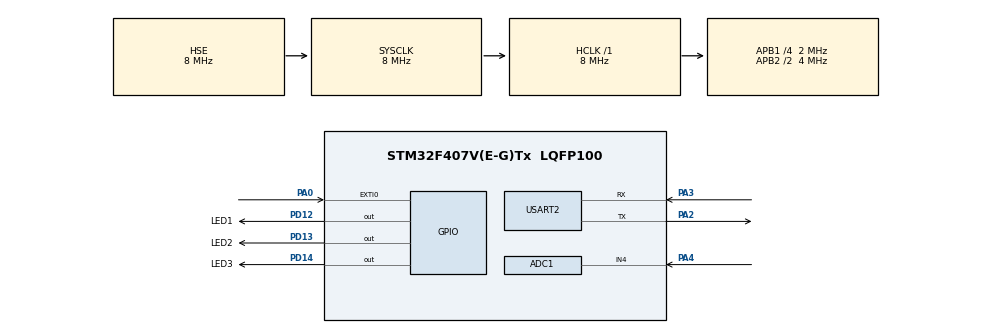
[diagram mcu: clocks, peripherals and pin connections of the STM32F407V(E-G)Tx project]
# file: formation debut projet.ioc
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ADC1.Channel-0\#ChannelRegularConversion=ADC_CHANNEL_4
ADC1.InjNumberOfConversion=0
ADC1.NbrOfConversionFlag=1
ADC1.Rank-0\#ChannelRegularConversion=1
ADC1.SamplingTime-0\#ChannelRegularConversion=ADC_SAMPLETIME_15CYCLES
ADC1.master=1
Mcu.Family=STM32F4
Mcu.Name=STM32F407V(E-G)Tx
Mcu.Package=LQFP100
NVIC.ADC_IRQn=true\:0\:0\:false\:false\:true\:true\:true\:true
NVIC.EXTI0_IRQn=true\:0\:0\:false\:false\:true\:true\:true\:true
NVIC.PriorityGroup=NVIC_PRIORITYGROUP_0
PA0-WKUP.Signal=GPXTI0
PA2.Mode=Asynchronous
PA2.Signal=USART2_TX
PA3.Mode=Asynchronous
PA3.Signal=USART2_RX
PA4.Signal=ADCx_IN4
PD12.GPIO_Label=LED1
PD12.Signal=GPIO_Output
PD13.GPIO_Label=LED2
PD13.Signal=GPIO_Output
PD14.GPIO_Label=LED3
PD14.Signal=GPIO_Output
PH0-OSC_IN.Mode=HSE-External-Oscillator
PH0-OSC_IN.Signal=RCC_OSC_IN
PH1-OSC_OUT.Mode=HSE-External-Oscillator
PH1-OSC_OUT.Signal=RCC_OSC_OUT
ProjectManager.HeapSize=0x200
ProjectManager.StackSize=0x400
ProjectManager.TargetToolchain=STM32CubeIDE
RCC.48MHZClocksFreq_Value=48000000
RCC.AHBFreq_Value=8000000
RCC.APB1CLKDivider=RCC_HCLK_DIV4
RCC.APB1Freq_Value=2000000
RCC.APB1TimFreq_Value=4000000
RCC.APB2CLKDivider=RCC_HCLK_DIV2
RCC.APB2Freq_Value=4000000
RCC.APB2TimFreq_Value=8000000
RCC.CortexFreq_Value=8000000
RCC.HCLKFreq_Value=8000000
RCC.HSE_VALUE=8000000
RCC.HSI_VALUE=16000000
RCC.PLLM=8
RCC.PLLN=336
RCC.PLLQ=7
RCC.PLLSourceVirtual=RCC_PLLSOURCE_HSE
RCC.SYSCLKFreq_VALUE=8000000
RCC.SYSCLKSource=RCC_SYSCLKSOURCE_HSE
RCC.VCOOutputFreq_Value=336000000
SH.ADCx_IN4.0=ADC1_IN4,IN4
USART2.VirtualMode=VM_ASYNC
board=STM32F407G-DISC1

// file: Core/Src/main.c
/* USER CODE BEGIN Header */
/**
  ******************************************************************************
  * @file           : main.c
  * @brief          : Main program body
  ******************************************************************************
  * @attention
  *
  * Copyright (c) 2024 STMicroelectronics.
  * All rights reserved.
  *
  * This software is licensed under terms that can be found in the LICENSE file
  * in the root directory of this software component.
  * If no LICENSE file comes with this software, it is provided AS-IS.
  *
  ******************************************************************************
  */
/* USER CODE END Header */
#include "main.h"

ADC_HandleTypeDef hadc1;

UART_HandleTypeDef huart2;

/* USER CODE BEGIN PV */
uint16_t tab[20];
uint8_t indice;
/* USER CODE END PV */

void SystemClock_Config(void);
static void MX_GPIO_Init(void);
static void MX_ADC1_Init(void);
static void MX_USART2_UART_Init(void);
/* USER CODE BEGIN PFP */
/**
  * @brief  EXTI line detection callbacks.
  * @param  GPIO_Pin Specifies the pins connected EXTI line
  * @retval None
  */
/*__weak*/ void HAL_GPIO_EXTI_Callback(uint16_t GPIO_Pin)
{

HAL_ADC_Start_IT(&hadc1);
HAL_GPIO_WritePin(LED1_GPIO_Port, LED2_Pin, 1);
}

/*__weak*/ void HAL_ADC_ConvCpltCallback(ADC_HandleTypeDef* hadc)
{
  HAL_ADC_Stop_IT(&hadc1);
  HAL_GPIO_WritePin(LED1_GPIO_Port, LED3_Pin, 1);
  tab[indice]=HAL_ADC_GetValue(&hadc1);
  indice ++;
}
/* USER CODE END PFP */

int main(void)
{

  /* MCU Configuration--------------------------------------------------------*/

  /* Reset of all peripherals, Initializes the Flash interface and the Systick. */

  /* Configure the system clock */
  SystemClock_Config();

  /* Initialize all configured peripherals */
  MX_GPIO_Init();
  MX_ADC1_Init();
  MX_USART2_UART_Init();
  /* USER CODE BEGIN 2 */
  indice=0;
  /* USER CODE END 2 */

  /* Infinite loop */
  while (1)
  {

    /* USER CODE BEGIN 3 */
	HAL_GPIO_TogglePin(LED1_GPIO_Port, LED1_Pin);
	  HAL_Delay(500);
	  if (indice==20)
	  {
		  indice=0;
		  HAL_ADC_Stop_IT(&hadc1);
		  HAL_UART_Transmit(&huart2, tab, 20-1, 5000);
		  HAL_GPIO_WritePin(LED2_GPIO_Port, LED2_Pin,0);
		  HAL_GPIO_WritePin(LED2_GPIO_Port, LED3_Pin,0);

	   }
  }
  /* USER CODE END 3 */
}

void SystemClock_Config(void)
{
  RCC_OscInitTypeDef RCC_OscInitStruct = {0};
  RCC_ClkInitTypeDef RCC_ClkInitStruct = {0};

  /** Configure the main internal regulator output voltage
  */
  __HAL_RCC_PWR_CLK_ENABLE();
  __HAL_PWR_VOLTAGESCALING_CONFIG(PWR_REGULATOR_VOLTAGE_SCALE1);

  /** Initializes the RCC Oscillators according to the specified parameters
  * in the RCC_OscInitTypeDef structure.
  */
  RCC_OscInitStruct.OscillatorType = RCC_OSCILLATORTYPE_HSE;
  RCC_OscInitStruct.HSEState = RCC_HSE_ON;
  RCC_OscInitStruct.PLL.PLLState = RCC_PLL_NONE;
  if (HAL_RCC_OscConfig(&RCC_OscInitStruct) != HAL_OK)
  {
    Error_Handler();
  }

  /** Initializes the CPU, AHB and APB buses clocks
  */
  RCC_ClkInitStruct.ClockType = RCC_CLOCKTYPE_HCLK|RCC_CLOCKTYPE_SYSCLK
                              |RCC_CLOCKTYPE_PCLK1|RCC_CLOCKTYPE_PCLK2;
  RCC_ClkInitStruct.SYSCLKSource = RCC_SYSCLKSOURCE_HSE;
  RCC_ClkInitStruct.AHBCLKDivider = RCC_SYSCLK_DIV1;
  RCC_ClkInitStruct.APB1CLKDivider = RCC_HCLK_DIV4;
  RCC_ClkInitStruct.APB2CLKDivider = RCC_HCLK_DIV2;

  if (HAL_RCC_ClockConfig(&RCC_ClkInitStruct, FLASH_LATENCY_0) != HAL_OK)
  {
    Error_Handler();
  }
}

static void MX_ADC1_Init(void)
{

  ADC_ChannelConfTypeDef sConfig = {0};

  /** Configure the global features of the ADC (Clock, Resolution, Data Alignment and number of conversion)
  */
  hadc1.Instance = ADC1;
  hadc1.Init.ClockPrescaler = ADC_CLOCK_SYNC_PCLK_DIV2;
  hadc1.Init.Resolution = ADC_RESOLUTION_12B;
  hadc1.Init.ScanConvMode = DISABLE;
  hadc1.Init.ContinuousConvMode = DISABLE;
  hadc1.Init.DiscontinuousConvMode = DISABLE;
  hadc1.Init.ExternalTrigConvEdge = ADC_EXTERNALTRIGCONVEDGE_NONE;
  hadc1.Init.ExternalTrigConv = ADC_SOFTWARE_START;
  hadc1.Init.DataAlign = ADC_DATAALIGN_RIGHT;
  hadc1.Init.NbrOfConversion = 1;
  hadc1.Init.DMAContinuousRequests = DISABLE;
  hadc1.Init.EOCSelection = ADC_EOC_SINGLE_CONV;
  if (HAL_ADC_Init(&hadc1) != HAL_OK)
  {
    Error_Handler();
  }

  /** Configure for the selected ADC regular channel its corresponding rank in the sequencer and its sample time.
  */
  sConfig.Channel = ADC_CHANNEL_4;
  sConfig.Rank = 1;
  sConfig.SamplingTime = ADC_SAMPLETIME_15CYCLES;
  if (HAL_ADC_ConfigChannel(&hadc1, &sConfig) != HAL_OK)
  {
    Error_Handler();
  }

}

static void MX_USART2_UART_Init(void)
{

  huart2.Instance = USART2;
  huart2.Init.BaudRate = 115200;
  huart2.Init.WordLength = UART_WORDLENGTH_8B;
  huart2.Init.StopBits = UART_STOPBITS_1;
  huart2.Init.Parity = UART_PARITY_NONE;
  huart2.Init.Mode = UART_MODE_TX_RX;
  huart2.Init.HwFlowCtl = UART_HWCONTROL_NONE;
  huart2.Init.OverSampling = UART_OVERSAMPLING_16;
  if (HAL_UART_Init(&huart2) != HAL_OK)
  {
    Error_Handler();
  }

}

static void MX_GPIO_Init(void)
{
  GPIO_InitTypeDef GPIO_InitStruct = {0};

  /* GPIO Ports Clock Enable */
  __HAL_RCC_GPIOH_CLK_ENABLE();
  __HAL_RCC_GPIOA_CLK_ENABLE();
  __HAL_RCC_GPIOD_CLK_ENABLE();

  /*Configure GPIO pin Output Level */
  HAL_GPIO_WritePin(GPIOD, LED1_Pin|LED2_Pin|LED3_Pin, GPIO_PIN_RESET);

  /*Configure GPIO pin : PA0 */
  GPIO_InitStruct.Pin = GPIO_PIN_0;
  GPIO_InitStruct.Mode = GPIO_MODE_IT_RISING;
  GPIO_InitStruct.Pull = GPIO_NOPULL;
  HAL_GPIO_Init(GPIOA, &GPIO_InitStruct);

  /*Configure GPIO pins : LED1_Pin LED2_Pin LED3_Pin */
  GPIO_InitStruct.Pin = LED1_Pin|LED2_Pin|LED3_Pin;
  GPIO_InitStruct.Mode = GPIO_MODE_OUTPUT_PP;
  GPIO_InitStruct.Pull = GPIO_NOPULL;
  GPIO_InitStruct.Speed = GPIO_SPEED_FREQ_LOW;
  HAL_GPIO_Init(GPIOD, &GPIO_InitStruct);

  /* EXTI interrupt init*/
  HAL_NVIC_SetPriority(EXTI0_IRQn, 0, 0);
  HAL_NVIC_EnableIRQ(EXTI0_IRQn);

}

void Error_Handler(void)
{
  __disable_irq();
  while (1)
  {
  }
}
